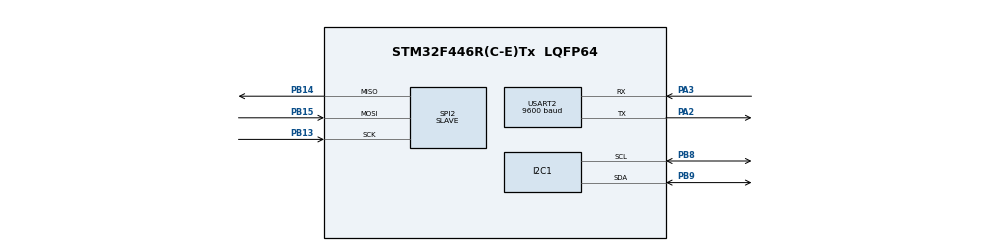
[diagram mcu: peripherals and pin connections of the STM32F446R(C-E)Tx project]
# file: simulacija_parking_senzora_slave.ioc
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Mcu.Family=STM32F4
Mcu.Name=STM32F446R(C-E)Tx
Mcu.Package=LQFP64
NVIC.PriorityGroup=NVIC_PRIORITYGROUP_4
PA13.Mode=Serial_Wire
PA13.Signal=SYS_JTMS-SWDIO
PA14.Mode=Serial_Wire
PA14.Signal=SYS_JTCK-SWCLK
PA2.Mode=Asynchronous
PA2.Signal=USART2_TX
PA3.Mode=Asynchronous
PA3.Signal=USART2_RX
PB13.Mode=Full_Duplex_Slave
PB13.Signal=SPI2_SCK
PB14.Mode=Full_Duplex_Slave
PB14.Signal=SPI2_MISO
PB15.Mode=Full_Duplex_Slave
PB15.Signal=SPI2_MOSI
PB8.Mode=I2C
PB8.Signal=I2C1_SCL
PB9.Mode=I2C
PB9.Signal=I2C1_SDA
ProjectManager.HeapSize=0x200
ProjectManager.StackSize=0x400
ProjectManager.TargetToolchain=STM32CubeIDE
RCC.CortexFreq_Value=16000000
RCC.USBFreq_Value=96000000
RCC.VCOOutputFreq_Value=192000000
SPI2.Direction=SPI_DIRECTION_2LINES
SPI2.Mode=SPI_MODE_SLAVE
SPI2.VirtualType=VM_SLAVE
USART2.BaudRate=9600
USART2.VirtualMode=VM_ASYNC
board=custom

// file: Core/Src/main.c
/* USER CODE BEGIN Header */
/**
  ******************************************************************************
  * @file           : main.c
  * @brief          : Main program body
  ******************************************************************************
  * @attention
  *
  * Copyright (c) 2024 STMicroelectronics.
  * All rights reserved.
  *
  * This software is licensed under terms that can be found in the LICENSE file
  * in the root directory of this software component.
  * If no LICENSE file comes with this software, it is provided AS-IS.
  *
  ******************************************************************************
  */
/* USER CODE END Header */
#include "main.h"

/* USER CODE BEGIN Includes */
#include "liquidcrystal_i2c.h"
/* USER CODE END Includes */

I2C_HandleTypeDef hi2c1;

SPI_HandleTypeDef hspi2;

UART_HandleTypeDef huart2;

/* USER CODE BEGIN PV */
uint32_t distance;  // Varijabla za primanje udaljenosti preko SPI-a
/* USER CODE END PV */

void SystemClock_Config(void);
static void MX_GPIO_Init(void);
static void MX_I2C1_Init(void);
static void MX_SPI2_Init(void);
static void MX_USART2_UART_Init(void);

int main(void)
{

  /* MCU Configuration--------------------------------------------------------*/

  /* Reset of all peripherals, Initializes the Flash interface and the Systick. */
  HAL_Init();

  /* Configure the system clock */
  SystemClock_Config();

  /* Initialize all configured peripherals */
  MX_GPIO_Init();
  MX_I2C1_Init();
  MX_SPI2_Init();
  MX_USART2_UART_Init();
  /* USER CODE BEGIN 2 */
  HD44780_Init();  // Inicijalizacija LCD-a
  HD44780_Clear();
  /* USER CODE END 2 */

  /* Infinite loop */
  /* USER CODE BEGIN WHILE */
  while (1)
  {
	  // Primanje podataka preko SPI-a
	  HAL_SPI_Receive(&hspi2, (uint8_t*)&distance, sizeof(distance), HAL_MAX_DELAY);

	  if (distance <= 30) {
	  // Pretvori primljeni podatak u string za LCD
	  char buffer[16];
	  sprintf(buffer, "Duljina: %d cm", distance);  // Pretvaramo primljeni broj u string

	  // Ispis na LCD
	  HD44780_Clear();  // O�?isti LCD
	  HD44780_SetCursor(0, 0);  // Postavi kursor na prvu liniju
	  HD44780_PrintStr(buffer);  // Ispiši podatak na LCD
	  }
	  else {
		  HD44780_Clear();  // O�?isti LCD
		  HD44780_SetCursor(0, 0);  // Postavi kursor na prvu liniju
		  HD44780_PrintStr("Vise od 30 cm");
		  HAL_Delay(1000);
	  }
	  HAL_Delay(1000);  // Odgoda između osvježavanja

    /* USER CODE END WHILE */

  }
}

void SystemClock_Config(void)
{
  RCC_OscInitTypeDef RCC_OscInitStruct = {0};
  RCC_ClkInitTypeDef RCC_ClkInitStruct = {0};

  /** Configure the main internal regulator output voltage
  */
  __HAL_RCC_PWR_CLK_ENABLE();
  __HAL_PWR_VOLTAGESCALING_CONFIG(PWR_REGULATOR_VOLTAGE_SCALE3);

  /** Initializes the RCC Oscillators according to the specified parameters
  * in the RCC_OscInitTypeDef structure.
  */
  RCC_OscInitStruct.OscillatorType = RCC_OSCILLATORTYPE_HSI;
  RCC_OscInitStruct.HSIState = RCC_HSI_ON;
  RCC_OscInitStruct.HSICalibrationValue = RCC_HSICALIBRATION_DEFAULT;
  RCC_OscInitStruct.PLL.PLLState = RCC_PLL_NONE;
  if (HAL_RCC_OscConfig(&RCC_OscInitStruct) != HAL_OK)
  {
    Error_Handler();
  }

  /** Initializes the CPU, AHB and APB buses clocks
  */
  RCC_ClkInitStruct.ClockType = RCC_CLOCKTYPE_HCLK|RCC_CLOCKTYPE_SYSCLK
                              |RCC_CLOCKTYPE_PCLK1|RCC_CLOCKTYPE_PCLK2;
  RCC_ClkInitStruct.SYSCLKSource = RCC_SYSCLKSOURCE_HSI;
  RCC_ClkInitStruct.AHBCLKDivider = RCC_SYSCLK_DIV1;
  RCC_ClkInitStruct.APB1CLKDivider = RCC_HCLK_DIV1;
  RCC_ClkInitStruct.APB2CLKDivider = RCC_HCLK_DIV1;

  if (HAL_RCC_ClockConfig(&RCC_ClkInitStruct, FLASH_LATENCY_0) != HAL_OK)
  {
    Error_Handler();
  }
}

static void MX_I2C1_Init(void)
{

  hi2c1.Instance = I2C1;
  hi2c1.Init.ClockSpeed = 100000;
  hi2c1.Init.DutyCycle = I2C_DUTYCYCLE_2;
  hi2c1.Init.OwnAddress1 = 0;
  hi2c1.Init.AddressingMode = I2C_ADDRESSINGMODE_7BIT;
  hi2c1.Init.DualAddressMode = I2C_DUALADDRESS_DISABLE;
  hi2c1.Init.OwnAddress2 = 0;
  hi2c1.Init.GeneralCallMode = I2C_GENERALCALL_DISABLE;
  hi2c1.Init.NoStretchMode = I2C_NOSTRETCH_DISABLE;
  if (HAL_I2C_Init(&hi2c1) != HAL_OK)
  {
    Error_Handler();
  }

}

static void MX_SPI2_Init(void)
{

  /* SPI2 parameter configuration*/
  hspi2.Instance = SPI2;
  hspi2.Init.Mode = SPI_MODE_SLAVE;
  hspi2.Init.Direction = SPI_DIRECTION_2LINES;
  hspi2.Init.DataSize = SPI_DATASIZE_8BIT;
  hspi2.Init.CLKPolarity = SPI_POLARITY_LOW;
  hspi2.Init.CLKPhase = SPI_PHASE_1EDGE;
  hspi2.Init.NSS = SPI_NSS_SOFT;
  hspi2.Init.FirstBit = SPI_FIRSTBIT_MSB;
  hspi2.Init.TIMode = SPI_TIMODE_DISABLE;
  hspi2.Init.CRCCalculation = SPI_CRCCALCULATION_DISABLE;
  hspi2.Init.CRCPolynomial = 10;
  if (HAL_SPI_Init(&hspi2) != HAL_OK)
  {
    Error_Handler();
  }

}

static void MX_USART2_UART_Init(void)
{

  huart2.Instance = USART2;
  huart2.Init.BaudRate = 9600;
  huart2.Init.WordLength = UART_WORDLENGTH_8B;
  huart2.Init.StopBits = UART_STOPBITS_1;
  huart2.Init.Parity = UART_PARITY_NONE;
  huart2.Init.Mode = UART_MODE_TX_RX;
  huart2.Init.HwFlowCtl = UART_HWCONTROL_NONE;
  huart2.Init.OverSampling = UART_OVERSAMPLING_16;
  if (HAL_UART_Init(&huart2) != HAL_OK)
  {
    Error_Handler();
  }

}

static void MX_GPIO_Init(void)
{

  /* GPIO Ports Clock Enable */
  __HAL_RCC_GPIOA_CLK_ENABLE();
  __HAL_RCC_GPIOB_CLK_ENABLE();

}

void Error_Handler(void)
{
  __disable_irq();
  while (1)
  {
  }
}
